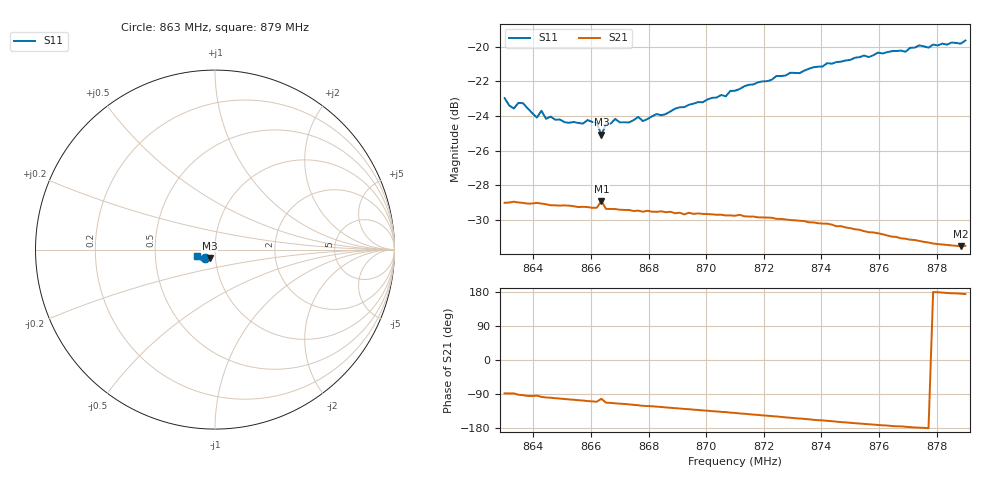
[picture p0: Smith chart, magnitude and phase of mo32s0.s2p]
# HZ S RI R 50
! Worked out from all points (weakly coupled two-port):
!   101 points, 863 MHz to 879 MHz, reference 50 ohm
!   highest |S21| = -28.91 dB at 866.36 MHz (marker M1); lowest = -31.5 dB at 878.84 MHz (marker M2)
!   lowest |S11| = -25.1 dB at 866.36 MHz (marker M3), VSWR 1.12, Z = 46.9 - j4.39 ohm
!   |S11| at or under -10 dB: start of sweep to end of sweep
!   S12 and S22 are empty: the file has one direction only
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8.63e8  -0.0553 -0.0445  0.00127 -0.0354  0 0  0 0
8.6332e8  -0.0492 -0.0445  0.00116 -0.0357  0 0  0 0
8.6348e8  -0.0536 -0.0431  -0.00103 -0.0355  0 0  0 0
8.6364e8  -0.0531 -0.0435  -0.00175 -0.0354  0 0  0 0
8.6412e8  -0.046 -0.0422  -0.00243 -0.0353  0 0  0 0
8.6428e8  -0.0482 -0.0441  -0.00455 -0.035  0 0  0 0
8.6444e8  -0.0466 -0.0407  -0.00544 -0.0347  0 0  0 0
8.6572e8  -0.0407 -0.0441  -0.0101 -0.033  0 0  0 0
8.6588e8  -0.0419 -0.0449  -0.0109 -0.0327  0 0  0 0
8.662e8  -0.0404 -0.0446  -0.0118 -0.0322  0 0  0 0
8.6636e8  -0.0303 -0.0467  -0.0077 -0.035  0 0  0 0
8.6652e8  -0.0381 -0.0459  -0.0131 -0.0314  0 0  0 0
8.6684e8  -0.04 -0.0472  -0.014 -0.031  0 0  0 0
8.6732e8  -0.0377 -0.0472  -0.0154 -0.0301  0 0  0 0
8.6764e8  -0.0381 -0.0498  -0.0165 -0.0293  0 0  0 0
8.678e8  -0.0371 -0.0484  -0.0172 -0.0287  0 0  0 0
8.6844e8  -0.0372 -0.0513  -0.0187 -0.0278  0 0  0 0
8.71e8  -0.0449 -0.0596  -0.0248 -0.0211  0 0  0 0
8.7372e8  -0.0605 -0.0628  -0.0288 -0.0118  0 0  0 0
8.7644e8  -0.0812 -0.0531  -0.0282 -0.00285  0 0  0 0
8.7884e8  -0.0956 -0.0355  -0.0265 0.00233  0 0  0 0
8.79e8  -0.098 -0.0352  -0.0265 0.00277  0 0  0 0
